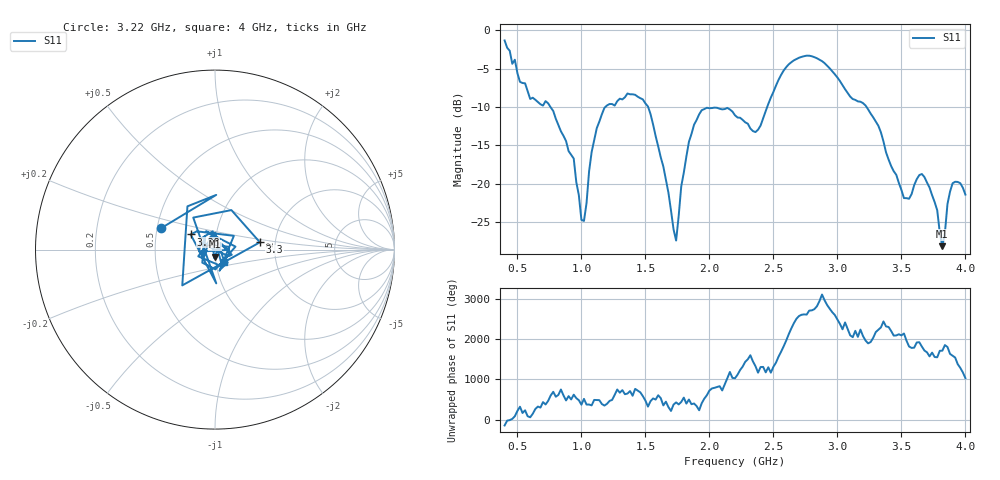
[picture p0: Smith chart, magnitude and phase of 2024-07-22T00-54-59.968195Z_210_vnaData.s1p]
!Created with skrf (http://scikit-rf.org).
# Hz S RI R 50.0
!freq ReS11 ImS11
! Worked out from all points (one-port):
!   181 points, 400 MHz to 4 GHz, reference 50 ohm
!   lowest |S11| = -28.2 dB at 3.82 GHz (marker M1), VSWR 1.08, Z = 49.7 - j3.89 ohm
!   |S11| at or under -10 dB: 757.7 MHz to 1.188 GHz (430 MHz wide, 44.2 % of centre); 1.521 GHz to 2.452 GHz (930.6 MHz wide, 46.8 % of centre); 3.227 GHz to end of sweep
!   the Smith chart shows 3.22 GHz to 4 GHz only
!   S11 on the Smith chart (normalised r, x): 3.22 GHz: 0.53, +0.14; 3.3 GHz: 1.66, +0.14; 3.38 GHz: 0.75, +0.13; 4 GHz: 1.10, -0.15
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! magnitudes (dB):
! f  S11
! 400 MHz  -1.3
! 600 MHz  -9.0
! 740 MHz  -9.5
! 860 MHz  -13.8
! 940 MHz  -16.7
! 1 GHz  -24.7
! 1.02 GHz  -24.9
! 1.12 GHz  -12.8
! 1.3 GHz  -8.9
! 1.52 GHz  -9.9
! 1.74 GHz  -27.4
! 1.76 GHz  -24.2
! 1.84 GHz  -14.6
! 1.92 GHz  -11.0
! 2.2 GHz  -11.1
! 2.38 GHz  -13.0
! 2.66 GHz  -3.9
! 2.88 GHz  -4.0
! 3.1 GHz  -8.7
! 3.22 GHz  -9.8
! 3.3 GHz  -11.9
! 3.38 GHz  -15.9
! 3.56 GHz  -22.0
! 3.68 GHz  -19.1
! 3.78 GHz  -23.5
! 3.82 GHz  -28.2
! 3.9 GHz  -20.0
! 4 GHz  -21.4
